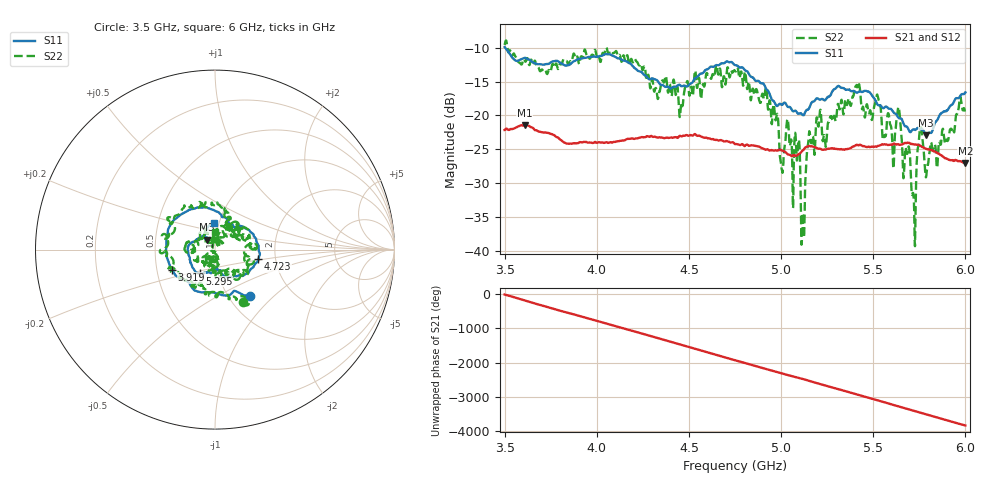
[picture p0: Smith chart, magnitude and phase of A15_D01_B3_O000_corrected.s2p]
! Created with skrf 1.9.0 (http://scikit-rf.org).
# Hz S RI R 50.0
!freq ReS11 ImS11 ReS21 ImS21 ReS12 ImS12 ReS22 ImS22
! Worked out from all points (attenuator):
!   1601 points, 3.5 GHz to 6 GHz, reference 50 ohm
!   highest |S21| = -21.43 dB at 3.609 GHz (marker M1); lowest = -27.0 dB at 6 GHz (marker M2)
!   lowest |S11| = -22.9 dB at 5.787 GHz (marker M3), VSWR 1.15, Z = 45.5 + j5.14 ohm
!   |S11| at or under -10 dB: 3.504 GHz to end of sweep
!   |S22| runs from -39.4 to -8.9 dB; largest |S21 - S12| = 0.0012
!   S11 on the Smith chart (normalised r, x): 3.5 GHz: 1.25, -0.72; 3.919 GHz: 0.60, -0.15; 4.723 GHz: 1.62, -0.19; 5.295 GHz: 0.81, -0.22; 6 GHz: 0.94, +0.29
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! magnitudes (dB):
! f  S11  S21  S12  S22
! 3.5 GHz  -9.9  -22.1  -22.1  -9.6
! 3.609 GHz  -11.5  -21.4  -21.5  -11.9
! 3.917 GHz  -11.6  -24.0  -24.0  -11.2
! 3.919 GHz  -11.6  -24.0  -24.0  -11.3
! 4.334 GHz  -15.0  -23.3  -23.2  -17.3
! 4.723 GHz  -12.1  -24.0  -23.9  -14.2
! 4.75 GHz  -12.6  -24.2  -24.2  -13.4
! 4.97 GHz  -18.4  -25.2  -25.1  -20.7
! 5.003 GHz  -18.4  -25.2  -25.2  -27.9
! 5.031 GHz  -18.5  -25.6  -25.6  -21.0
! 5.088 GHz  -19.6  -25.9  -25.9  -26.4
! 5.119 GHz  -19.9  -25.2  -25.1  -34.7
! 5.145 GHz  -19.1  -24.6  -24.6  -24.4
! 5.167 GHz  -18.0  -24.6  -24.6  -23.7
! 5.295 GHz  -16.0  -24.9  -24.9  -20.8
! 5.414 GHz  -16.6  -24.4  -24.4  -15.7
! 5.584 GHz  -19.0  -24.4  -24.4  -19.9
! 5.641 GHz  -20.4  -24.3  -24.3  -19.1
! 5.719 GHz  -22.1  -24.3  -24.2  -32.0
! 5.753 GHz  -22.0  -24.5  -24.4  -22.2
! 5.787 GHz  -22.9  -25.0  -24.9  -29.0
! 6 GHz  -16.6  -27.0  -27.0  -20.0
